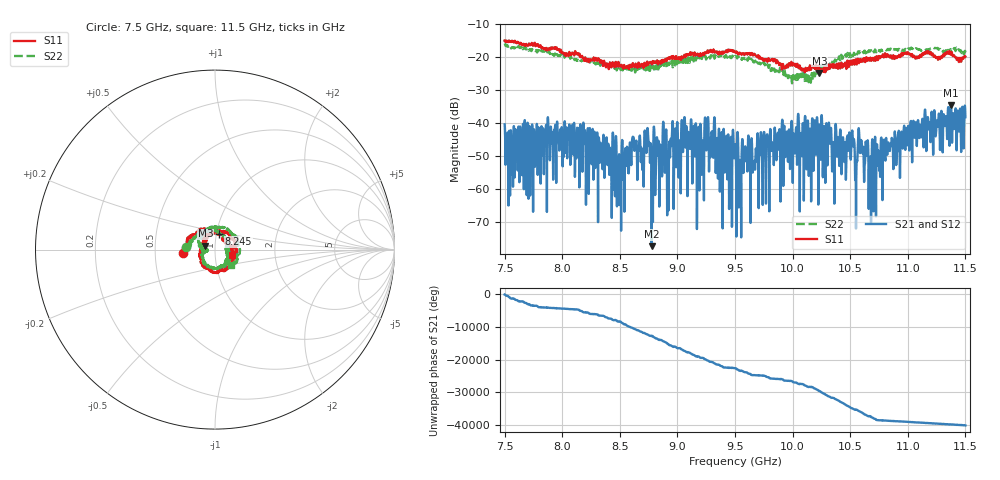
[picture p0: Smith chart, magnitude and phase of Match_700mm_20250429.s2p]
#  HZ  S  DB  R  50.00
! Rohde & Schwarz ZVA40 2Ports - Version 4.11 - 1145.1110k40 SN: 100216
! Date: 2025-04-29 18:27:43
! Measurements: S11 S21 S12 S22
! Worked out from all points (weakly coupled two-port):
!   5001 points, 7.5 GHz to 11.5 GHz, reference 50 ohm
!   highest |S21| = -34.53 dB at 11.37 GHz (marker M1); lowest = -77.3 dB at 8.777 GHz (marker M2)
!   lowest |S11| = -24.7 dB at 10.23 GHz (marker M3), VSWR 1.12, Z = 44.9 + j2.02 ohm
!   |S11| at or under -10 dB: start of sweep to end of sweep
!   |S22| runs from -27.9 to -15.7 dB; largest |S21 - S12| = 0.00017
!   S11 on the Smith chart (normalised r, x): 7.5 GHz: 0.69, -0.02; 8.245 GHz: 1.03, +0.18; 11.5 GHz: 1.22, -0.07
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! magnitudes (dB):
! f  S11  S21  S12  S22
! 7.5 GHz  -14.9  -40.3  -40.3  -15.7
! 7.553 GHz  -15.2  -42.2  -42.2  -16.8
! 8.167 GHz  -19.7  -42.8  -42.9  -21.1
! 8.245 GHz  -20.9  -43.9  -43.9  -21.4
! 8.494 GHz  -22.6  -49.5  -49.4  -23.8
! 8.625 GHz  -22.7  -46.7  -46.6  -23.1
! 8.777 GHz  -21.8  -77.3  -78.6  -23.3
! 8.834 GHz  -22.0  -46.6  -46.6  -23.7
! 9.052 GHz  -20.0  -44.6  -44.5  -21.4
! 9.211 GHz  -19.4  -50.5  -50.4  -20.5
! 9.253 GHz  -18.7  -46.7  -46.8  -20.3
! 9.5 GHz  -18.3  -46.3  -46.4  -19.6
! 9.551 GHz  -18.8  -58.4  -58.4  -20.1
! 10.17 GHz  -22.6  -40.8  -40.8  -24.8
! 10.23 GHz  -24.7  -40.5  -40.5  -24.7
! 10.51 GHz  -21.5  -47.5  -47.4  -19.5
! 10.55 GHz  -20.7  -53.4  -53.3  -18.8
! 10.59 GHz  -20.5  -49.0  -49.0  -18.3
! 10.69 GHz  -20.8  -53.0  -53.0  -18.1
! 10.83 GHz  -19.5  -46.0  -46.0  -17.7
! 11.37 GHz  -19.1  -34.5  -34.5  -17.7
! 11.5 GHz  -19.8  -38.1  -38.1  -18.5
